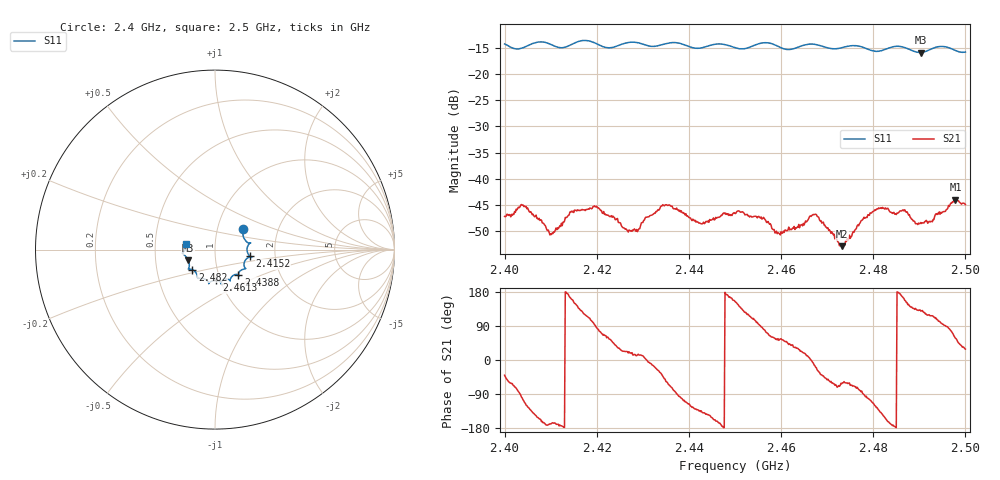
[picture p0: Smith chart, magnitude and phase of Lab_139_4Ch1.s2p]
# Hz S RI R 50
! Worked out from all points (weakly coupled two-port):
!   601 points, 2.4 GHz to 2.5 GHz, reference 50 ohm
!   highest |S21| = -44.00 dB at 2.4978 GHz (marker M1); lowest = -52.9 dB at 2.4732 GHz (marker M2)
!   lowest |S11| = -15.9 dB at 2.4903 GHz (marker M3), VSWR 1.38, Z = 36.8 - j4.45 ohm
!   |S11| at or under -10 dB: start of sweep to end of sweep
!   S12 and S22 are empty: the file has one direction only
!   S11 on the Smith chart (normalised r, x): 2.4 GHz: 1.33, +0.31; 2.4152 GHz: 1.48, -0.12; 2.4388 GHz: 1.24, -0.36; 2.4613 GHz: 0.96, -0.34; 2.482 GHz: 0.76, -0.17; 2.5 GHz: 0.72, +0.05
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2.4e9  0.1581 0.1121  0.00333 -0.00282  0 0  0 0
2.404167e9  0.1733 0.0462  -0.00167 -0.00516  0 0  0 0
2.410167e9  0.1883 0.0294  -0.00286 -0.000631  0 0  0 0
2.415167e9  0.1938 -0.0376  -0.00433 0.00255  0 0  0 0
2.416667e9  0.2034 -0.0439  -0.00325 0.00383  0 0  0 0
2.42e9  0.1896 -0.0425  0.000488 0.00544  0 0  0 0
2.427167e9  0.1713 -0.105  0.00303 0.00104  0 0  0 0
2.433333e9  0.1323 -0.1314  0.0045 -0.00235  0 0  0 0
2.438833e9  0.1297 -0.1406  -0.00141 -0.00454  0 0  0 0
2.443e9  0.0909 -0.154  -0.00282 -0.00243  0 0  0 0
2.45e9  0.0688 -0.1648  -0.0042 0.002  0 0  0 0
2.456167e9  0.0371 -0.1953  0.000633 0.00423  0 0  0 0
2.459333e9  0.0309 -0.1811  0.00169 0.00254  0 0  0 0
2.461333e9  0.00779 -0.1714  0.00221 0.0023  0 0  0 0
2.466667e9  -0.0349 -0.1902  0.00445 -0.00019  0 0  0 0
2.473167e9  -0.0795 -0.1598  0.00105 -0.00201  0 0  0 0
2.477833e9  -0.0977 -0.1508  1.27e-05 -0.00415  0 0  0 0
2.482e9  -0.1259 -0.1117  -0.00427 -0.00318  0 0  0 0
2.483333e9  -0.1395 -0.1088  -0.00485 -0.00147  0 0  0 0
2.490333e9  -0.1492 -0.059  -0.0024 0.00297  0 0  0 0
2.497833e9  -0.1676 -0.00273  0.00338 0.00532  0 0  0 0
2.5e9  -0.1589 0.0325  0.00496 0.00272  0 0  0 0
